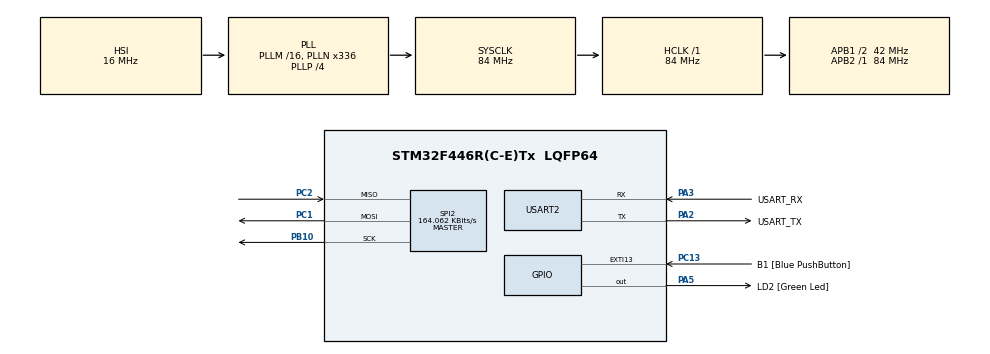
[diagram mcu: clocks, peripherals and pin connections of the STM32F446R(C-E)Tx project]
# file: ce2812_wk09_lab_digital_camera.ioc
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Mcu.Family=STM32F4
Mcu.Name=STM32F446R(C-E)Tx
Mcu.Package=LQFP64
NVIC.PriorityGroup=NVIC_PRIORITYGROUP_0
PA13.GPIO_Label=TMS
PA13.Mode=Serial_Wire
PA13.Signal=SYS_JTMS-SWDIO
PA14.GPIO_Label=TCK
PA14.Mode=Serial_Wire
PA14.Signal=SYS_JTCK-SWCLK
PA2.GPIO_Label=USART_TX
PA2.Mode=Asynchronous
PA2.Signal=USART2_TX
PA3.GPIO_Label=USART_RX
PA3.Mode=Asynchronous
PA3.Signal=USART2_RX
PA5.GPIO_Label=LD2 [Green Led]
PA5.Signal=GPIO_Output
PB10.Mode=Full_Duplex_Master
PB10.Signal=SPI2_SCK
PB3.GPIO_Label=SWO
PB3.Signal=SYS_JTDO-SWO
PC1.Mode=Full_Duplex_Master
PC1.Signal=SPI2_MOSI
PC13.GPIO_Label=B1 [Blue PushButton]
PC13.GPIO_ModeDefaultEXTI=GPIO_MODE_IT_FALLING
PC13.Signal=GPXTI13
PC14-OSC32_IN.Mode=LSE-External-Oscillator
PC14-OSC32_IN.Signal=RCC_OSC32_IN
PC15-OSC32_OUT.Mode=LSE-External-Oscillator
PC15-OSC32_OUT.Signal=RCC_OSC32_OUT
PC2.Mode=Full_Duplex_Master
PC2.Signal=SPI2_MISO
PH0-OSC_IN.Mode=HSE-External-Oscillator
PH0-OSC_IN.Signal=RCC_OSC_IN
PH1-OSC_OUT.Mode=HSE-External-Oscillator
PH1-OSC_OUT.Signal=RCC_OSC_OUT
ProjectManager.HeapSize=0x200
ProjectManager.StackSize=0x400
ProjectManager.TargetToolchain=SW4STM32
RCC.48MHZClocksFreq_Value=84000000
RCC.AHBFreq_Value=84000000
RCC.APB1CLKDivider=RCC_HCLK_DIV2
RCC.APB1Freq_Value=42000000
RCC.APB1TimFreq_Value=84000000
RCC.APB2Freq_Value=84000000
RCC.APB2TimFreq_Value=84000000
RCC.CortexFreq_Value=84000000
RCC.FLatency-AdvancedSettings=FLASH_LATENCY_2
RCC.HCLKFreq_Value=84000000
RCC.HSE_VALUE=8000000
RCC.HSI_VALUE=16000000
RCC.PLLN=336
RCC.PLLP=RCC_PLLP_DIV4
RCC.SYSCLKFreq_VALUE=84000000
RCC.SYSCLKSource=RCC_SYSCLKSOURCE_PLLCLK
RCC.USBFreq_Value=168000000
RCC.VCOOutputFreq_Value=336000000
SPI2.BaudRatePrescaler=SPI_BAUDRATEPRESCALER_256
SPI2.CalculateBaudRate=164.062 KBits/s
SPI2.Direction=SPI_DIRECTION_2LINES
SPI2.Mode=SPI_MODE_MASTER
SPI2.VirtualType=VM_MASTER
USART2.VirtualMode=VM_ASYNC
VP_FATFS_VS_Generic.Mode=User_defined
board=NUCLEO-F446RE

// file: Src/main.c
/* USER CODE BEGIN Header */
/**
  * @file main.c
  * @author Grant Wilk
  * @created 2/11/2020
  * @modified 2/25/2020
  * @desc a digital camera application
  */
/* USER CODE END Header */

# include <stdio.h>
# include "main.h"
# include "fatfs.h"
# include "uart_print.h"
# include "dcmi_driver.h"

SPI_HandleTypeDef hspi2;

UART_HandleTypeDef huart2;

/* USER CODE BEGIN PV */

typedef enum {
    DCM_INIT,
    DCM_IDLE,
    DCM_CAPTURE,
    DCM_SD_WRITE,
    DCM_ERR
} DCM_state;

/* USER CODE END PV */

void SystemClock_Config(void);

static void MX_GPIO_Init(void);

static void MX_SPI2_Init(void);

static void MX_USART2_UART_Init(void);

int main(void) {

    /* MCU Configuration--------------------------------------------------------*/

    /* Reset of all peripherals, Initializes the Flash interface and the Systick. */
    HAL_Init();

    /* Configure the system clock */
    SystemClock_Config();

    /* Initialize all configured peripherals */
    MX_GPIO_Init();
    MX_SPI2_Init();
    MX_USART2_UART_Init();
    MX_FATFS_Init();
    /* USER CODE BEGIN 2 */

    uart_printf("\n\n==================================\n");
    uart_printf("---------- SYSTEM RESET ----------\n");
    uart_printf("==================================\n");

    // state variables
    DCM_state state = DCM_INIT;

    // FATFS variables
    FATFS file_system;    /* FAT file system object */
    FRESULT f_result;       /* FAT operation result */
    FIL file;           /* FAT file object */

    // DCMI variables
    uint8_t *img_buf;        /* DCMI image buffer */
    uint32_t img_buf_size;   /* DCMI image buffer size (bytes) */

    /* USER CODE END 2 */

    /* Infinite loop */
    while (1) {

        // initialization state
        if (state == DCM_INIT) {

            uart_printf("\n----------- INIT STATE -----------\n");

            // mount the SD card
            uart_printf("\nMounting SD Card...\n");
            f_result = f_mount(&file_system, "", 1);

            if (f_result == FR_OK) {
                uart_printf("Card Mounted!\n");
            } else {
                uart_printf("Failed To Mount! (%02X)\n", f_result);
                break;
            }

            // initialize the camera
            uart_printf("\nInitializing Camera...\n");
            dcmi_init();
            uart_printf("Camera Initialized!\n");

            // initialize blue button
            uart_printf("\nInitializing Blue Button...\n");
            GPIOC->MODER |= (GPIO_MODE_INPUT << GPIO_MODER_MODE13_Pos);
            GPIOC->PUPDR |= (GPIO_PULLDOWN << GPIO_PUPDR_PUPD13_Pos);
            uart_printf("Blue Button Initialized!\n");

            // delay 10ms for peripheral stabilization
            HAL_Delay(10);

            // always switch to IDLE state or error state
            uart_printf("\n----------- IDLE STATE -----------\n");
            state = DCM_IDLE;

        }

        // idle state
        else if (state == DCM_IDLE) {
            // if blue button pressed, switch to capture state
            if (!(GPIOC->IDR & GPIO_IDR_ID13)) {
                uart_printf("\n--------- CAPTURE STATE ----------\n");
                state = DCM_CAPTURE;
            }
        }

        // capture state
        else if (state == DCM_CAPTURE) {

            // capture an image
            uart_printf("\nCapturing Image...\n");
            dcmi_capture();

            // if capture successful, switch to SD write state, otherwise error state
            if (1) {
                uart_printf("Image Captured!\n");
                uart_printf("\n--------- SD WRITE STATE ---------\n");
                state = DCM_SD_WRITE;
            } else {
                uart_printf("Image Capture Failed!\n");
                uart_printf("\n---------- ERROR STATE -----------\n");
                state = DCM_ERR;
            }
        }

        // SD write state
        else if (state == DCM_SD_WRITE) {

            // generate the file name
            int image_num = 0;
            char file_name[12];

            do {
                sprintf(file_name, "DCM%04d.PGM", image_num++);
            } while (f_stat(file_name, NULL) != FR_NO_FILE);

            // open or create a new image file
            uart_printf("\nCreating \"%s\"...\n", file_name);
            f_result = f_open(&file, file_name, FA_WRITE | FA_CREATE_ALWAYS);

            if (f_result == FR_OK) {
                uart_printf("File Created!\n");
            } else {
                uart_printf("Failed to Create! (%02X)\n", f_result);
                break;
            }

            // get DCMI variables
            img_buf = dcmi_get_img_buf();
            img_buf_size = dcmi_get_img_buf_size();

            // write to image file
            uart_printf("\nWriting to \"%s\"...\n", file_name);

            int bytes_written;

            // file header
            f_printf(&file, "P5\n");
            f_printf(&file, "256 256\n");
            f_printf(&file, "255\n");

            f_result = f_write(&file, img_buf, img_buf_size, (UINT *) &bytes_written);

            if (f_result == FR_OK) {
                uart_printf("Wrote %d of %d bytes!\n", bytes_written, img_buf_size);
            } else {
                uart_printf("Write failed! Wrote %d of %d bytes! (%02X)\n", bytes_written, img_buf_size, f_result);
                break;
            }

            // close file
            uart_printf("\nClosing \"%s\"...\n", file_name);
            f_result = f_close(&file);
            if (f_result == FR_OK) {
                uart_printf("File Closed!\n", file_name);
            } else {
                uart_printf("File Failed to Close!\n", file_name);
            }

            // switch to idle state
            uart_printf("\n---------- IDLE STATE ----------\n");
            state = DCM_IDLE;

        }

        // break to error state
        else {
            state = DCM_ERR;
            break;
        }

        /* USER CODE BEGIN 3 */
    }

    // error state
    uart_printf("\n---------- ERROR STATE ---------\n");
    while (1);

    /* USER CODE END 3 */
}

void SystemClock_Config(void) {
    RCC_OscInitTypeDef RCC_OscInitStruct = {0};
    RCC_ClkInitTypeDef RCC_ClkInitStruct = {0};

    /** Configure the main internal regulator output voltage
    */
    __HAL_RCC_PWR_CLK_ENABLE();
    __HAL_PWR_VOLTAGESCALING_CONFIG(PWR_REGULATOR_VOLTAGE_SCALE3);
    /** Initializes the CPU, AHB and APB busses clocks
    */
    RCC_OscInitStruct.OscillatorType = RCC_OSCILLATORTYPE_HSI;
    RCC_OscInitStruct.HSIState = RCC_HSI_ON;
    RCC_OscInitStruct.HSICalibrationValue = RCC_HSICALIBRATION_DEFAULT;
    RCC_OscInitStruct.PLL.PLLState = RCC_PLL_ON;
    RCC_OscInitStruct.PLL.PLLSource = RCC_PLLSOURCE_HSI;
    RCC_OscInitStruct.PLL.PLLM = 16;
    RCC_OscInitStruct.PLL.PLLN = 336;
    RCC_OscInitStruct.PLL.PLLP = RCC_PLLP_DIV4;
    RCC_OscInitStruct.PLL.PLLQ = 2;
    RCC_OscInitStruct.PLL.PLLR = 2;
    if (HAL_RCC_OscConfig(&RCC_OscInitStruct) != HAL_OK) {
        Error_Handler();
    }
    /** Initializes the CPU, AHB and APB busses clocks
    */
    RCC_ClkInitStruct.ClockType = RCC_CLOCKTYPE_HCLK | RCC_CLOCKTYPE_SYSCLK
                                  | RCC_CLOCKTYPE_PCLK1 | RCC_CLOCKTYPE_PCLK2;
    RCC_ClkInitStruct.SYSCLKSource = RCC_SYSCLKSOURCE_PLLCLK;
    RCC_ClkInitStruct.AHBCLKDivider = RCC_SYSCLK_DIV1;
    RCC_ClkInitStruct.APB1CLKDivider = RCC_HCLK_DIV2;
    RCC_ClkInitStruct.APB2CLKDivider = RCC_HCLK_DIV1;

    if (HAL_RCC_ClockConfig(&RCC_ClkInitStruct, FLASH_LATENCY_2) != HAL_OK) {
        Error_Handler();
    }
}

static void MX_SPI2_Init(void) {

    /* SPI2 parameter configuration*/
    hspi2.Instance = SPI2;
    hspi2.Init.Mode = SPI_MODE_MASTER;
    hspi2.Init.Direction = SPI_DIRECTION_2LINES;
    hspi2.Init.DataSize = SPI_DATASIZE_8BIT;
    hspi2.Init.CLKPolarity = SPI_POLARITY_LOW;
    hspi2.Init.CLKPhase = SPI_PHASE_1EDGE;
    hspi2.Init.NSS = SPI_NSS_SOFT;
    hspi2.Init.BaudRatePrescaler = SPI_BAUDRATEPRESCALER_64;
    hspi2.Init.FirstBit = SPI_FIRSTBIT_MSB;
    hspi2.Init.TIMode = SPI_TIMODE_DISABLE;
    hspi2.Init.CRCCalculation = SPI_CRCCALCULATION_DISABLE;
    hspi2.Init.CRCPolynomial = 10;
    if (HAL_SPI_Init(&hspi2) != HAL_OK) {
        Error_Handler();
    }
    /* USER CODE BEGIN SPI2_Init 2 */

    // configure CS pin (PB12) as output
    GPIOB->MODER |= (GPIO_MODE_OUTPUT_PP << GPIO_MODER_MODE12_Pos);

    // set CS pin high
    GPIOB->ODR |= GPIO_ODR_OD12;

    // set the MOSI line high
    BYTE txData = 0xFF;
    HAL_SPI_Transmit(&hspi2, &txData, 1, 1000);

    /* USER CODE END SPI2_Init 2 */

}

static void MX_USART2_UART_Init(void) {

    huart2.Instance = USART2;
    huart2.Init.BaudRate = 115200;
    huart2.Init.WordLength = UART_WORDLENGTH_8B;
    huart2.Init.StopBits = UART_STOPBITS_1;
    huart2.Init.Parity = UART_PARITY_NONE;
    huart2.Init.Mode = UART_MODE_TX_RX;
    huart2.Init.HwFlowCtl = UART_HWCONTROL_NONE;
    huart2.Init.OverSampling = UART_OVERSAMPLING_16;
    if (HAL_UART_Init(&huart2) != HAL_OK) {
        Error_Handler();
    }
    /* USER CODE BEGIN USART2_Init 2 */
    uart_print_init();
    /* USER CODE END USART2_Init 2 */

}

static void MX_GPIO_Init(void) {
    GPIO_InitTypeDef GPIO_InitStruct = {0};

    /* GPIO Ports Clock Enable */
    __HAL_RCC_GPIOC_CLK_ENABLE();
    __HAL_RCC_GPIOH_CLK_ENABLE();
    __HAL_RCC_GPIOA_CLK_ENABLE();
    __HAL_RCC_GPIOB_CLK_ENABLE();

    /*Configure GPIO pin Output Level */
    HAL_GPIO_WritePin(LD2_GPIO_Port, LD2_Pin, GPIO_PIN_RESET);

    /*Configure GPIO pin : B1_Pin */
    GPIO_InitStruct.Pin = B1_Pin;
    GPIO_InitStruct.Mode = GPIO_MODE_IT_FALLING;
    GPIO_InitStruct.Pull = GPIO_NOPULL;
    HAL_GPIO_Init(B1_GPIO_Port, &GPIO_InitStruct);

    /*Configure GPIO pin : LD2_Pin */
    GPIO_InitStruct.Pin = LD2_Pin;
    GPIO_InitStruct.Mode = GPIO_MODE_OUTPUT_PP;
    GPIO_InitStruct.Pull = GPIO_NOPULL;
    GPIO_InitStruct.Speed = GPIO_SPEED_FREQ_LOW;
    HAL_GPIO_Init(LD2_GPIO_Port, &GPIO_InitStruct);

}

void Error_Handler(void) {
}

/************************ (C) COPYRIGHT STMicroelectronics *****END OF FILE****/
